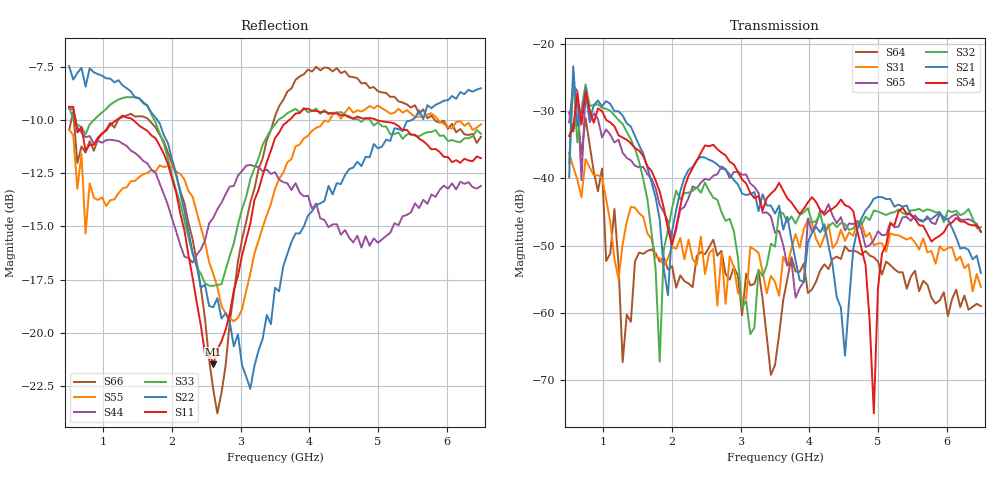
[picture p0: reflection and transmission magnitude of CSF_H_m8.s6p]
!Keysight Technologies,M9804A,MY58100912,A.14.10.03
!Date: Thursday, April 27, 2023 10:28:33
!Correction: S11(C  6-Port  )
!S12(C  6-Port  )
!S13(C  6-Port  )
!S14(C  6-Port  )
!S15(C  6-Port  )
!S16(C  6-Port  )
!S21(C  6-Port  )
!S22(C  6-Port  )
!S23(C  6-Port  )
!S24(C  6-Port  )
!S25(C  6-Port  )
!S26(C  6-Port  )
!S31(C  6-Port  )
!S32(C  6-Port  )
!S33(C  6-Port  )
!S34(C  6-Port  )
!S35(C  6-Port  )
!S36(C  6-Port  )
!S41(C  6-Port  )
!S42(C  6-Port  )
!S43(C  6-Port  )
!S44(C  6-Port  )
!S45(C  6-Port  )
!S46(C  6-Port  )
!S51(C  6-Port  )
!S52(C  6-Port  )
!S53(C  6-Port  )
!S54(C  6-Port  )
!S55(C  6-Port  )
!S56(C  6-Port  )
!S61(C  6-Port  )
!S62(C  6-Port  )
!S63(C  6-Port  )
!S64(C  6-Port  )
!S65(C  6-Port  )
!S66(C  6-Port  )
!S6P File: Measurement: :
# Hz S  RI  R 50
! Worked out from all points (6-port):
!   101 points, 500 MHz to 6.5 GHz, reference 50 ohm
!   strongest paths, dB at 500 MHz, 2 GHz, 3.5 GHz, 5 GHz, 6.5 GHz:
!     S54: -33.7, -49.9, -41.7, -56.4, -47.9
!     S21: -39.9, -47.9, -45.2, -42.8, -54.1
!     S32: -37.7, -44.4, -50.2, -44.9, -47.3
!     S65: -31.7, -49.6, -48.1, -47.9, -48.0
!     S31: -36.3, -50.2, -55.4, -49.7, -56.1
!     S64: -30.2, -53.0, -67.8, -52.4, -59.0
!   lowest |S11| = -21.5 dB at 2.6 GHz (marker M1), VSWR 1.18, Z = 42.5 + j2.13 ohm
!   |S11| at or under -10 dB: 590.5 MHz to 1.196 GHz (605.1 MHz wide, 67.8 % of centre); 1.428 GHz to 3.711 GHz (2.283 GHz wide, 88.9 % of centre); 4.975 GHz to end of sweep
